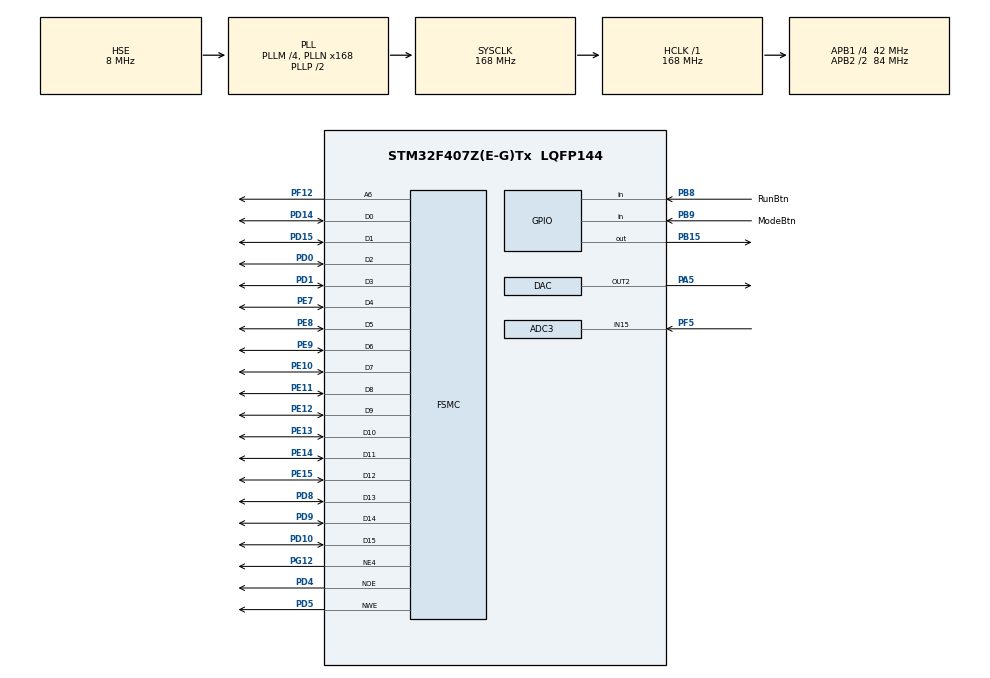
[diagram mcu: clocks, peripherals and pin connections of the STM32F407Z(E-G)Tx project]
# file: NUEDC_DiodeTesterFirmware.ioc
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ADC3.Channel-0\#ChannelRegularConversion=ADC_CHANNEL_15
ADC3.NbrOfConversionFlag=1
ADC3.Rank-0\#ChannelRegularConversion=1
ADC3.SamplingTime-0\#ChannelRegularConversion=ADC_SAMPLETIME_3CYCLES
DAC.DAC_Trigger2=DAC_TRIGGER_NONE
FSMC.AddressSetupTime1=2
FSMC.BusTurnAroundDuration1=2
FSMC.DataSetupTime1=16
IWDG.Prescaler=IWDG_PRESCALER_256
Mcu.Family=STM32F4
Mcu.Name=STM32F407Z(E-G)Tx
Mcu.Package=LQFP144
NVIC.ADC_IRQn=true\:0\:0\:false\:false\:true\:true\:true\:true
NVIC.PriorityGroup=NVIC_PRIORITYGROUP_4
NVIC.TIM6_DAC_IRQn=true\:0\:0\:false\:false\:true\:true\:true\:true
PA13.Mode=JTAG_5_pins
PA13.Signal=SYS_JTMS-SWDIO
PA14.Mode=JTAG_5_pins
PA14.Signal=SYS_JTCK-SWCLK
PA15.Mode=JTAG_5_pins
PA15.Signal=SYS_JTDI
PA5.Signal=COMP_DAC2_group
PB15.Signal=GPIO_Output
PB3.Mode=JTAG_5_pins
PB3.Signal=SYS_JTDO-SWO
PB4.Mode=JTAG_5_pins
PB4.Signal=SYS_JTRST
PB8.GPIO_Label=RunBtn
PB8.GPIO_PuPd=GPIO_PULLUP
PB8.Signal=GPIO_Input
PB9.GPIO_Label=ModeBtn
PB9.GPIO_PuPd=GPIO_PULLUP
PB9.Signal=GPIO_Input
PC14-OSC32_IN.Mode=LSE-External-Oscillator
PC14-OSC32_IN.Signal=RCC_OSC32_IN
PC15-OSC32_OUT.Mode=LSE-External-Oscillator
PC15-OSC32_OUT.Signal=RCC_OSC32_OUT
PD0.Signal=FSMC_D2_DA2
PD1.Signal=FSMC_D3_DA3
PD10.Signal=FSMC_D15_DA15
PD14.Signal=FSMC_D0_DA0
PD15.Signal=FSMC_D1_DA1
PD4.Signal=FSMC_NOE
PD5.Signal=FSMC_NWE
PD8.Signal=FSMC_D13_DA13
PD9.Signal=FSMC_D14_DA14
PE10.Signal=FSMC_D7_DA7
PE11.Signal=FSMC_D8_DA8
PE12.Signal=FSMC_D9_DA9
PE13.Signal=FSMC_D10_DA10
PE14.Signal=FSMC_D11_DA11
PE15.Signal=FSMC_D12_DA12
PE7.Signal=FSMC_D4_DA4
PE8.Signal=FSMC_D5_DA5
PE9.Signal=FSMC_D6_DA6
PF12.Signal=FSMC_A6
PF5.Mode=IN15
PF5.Signal=ADC3_IN15
PG12.Mode=NorPsramChipSelect4_1
PG12.Signal=FSMC_NE4
PH0-OSC_IN.Mode=HSE-External-Oscillator
PH0-OSC_IN.Signal=RCC_OSC_IN
PH1-OSC_OUT.Mode=HSE-External-Oscillator
PH1-OSC_OUT.Signal=RCC_OSC_OUT
ProjectManager.HeapSize=0x200
ProjectManager.StackSize=0x400
ProjectManager.TargetToolchain=Makefile
RCC.48MHZClocksFreq_Value=84000000
RCC.AHBFreq_Value=168000000
RCC.APB1CLKDivider=RCC_HCLK_DIV4
RCC.APB1Freq_Value=42000000
RCC.APB1TimFreq_Value=84000000
RCC.APB2CLKDivider=RCC_HCLK_DIV2
RCC.APB2Freq_Value=84000000
RCC.APB2TimFreq_Value=168000000
RCC.CortexFreq_Value=168000000
RCC.EnbaleCSS=true
RCC.HCLKFreq_Value=168000000
RCC.HSE_VALUE=8000000
RCC.HSI_VALUE=16000000
RCC.PLLM=4
RCC.PLLN=168
RCC.PLLSourceVirtual=RCC_PLLSOURCE_HSE
RCC.SYSCLKFreq_VALUE=168000000
RCC.SYSCLKSource=RCC_SYSCLKSOURCE_PLLCLK
RCC.VCOOutputFreq_Value=336000000
SH.COMP_DAC2_group.0=DAC_OUT2,DAC_OUT2
SH.FSMC_A6.0=FSMC_A6,A6_1
SH.FSMC_D0_DA0.0=FSMC_D0,16b-d1
SH.FSMC_D10_DA10.0=FSMC_D10,16b-d1
SH.FSMC_D11_DA11.0=FSMC_D11,16b-d1
SH.FSMC_D12_DA12.0=FSMC_D12,16b-d1
SH.FSMC_D13_DA13.0=FSMC_D13,16b-d1
SH.FSMC_D14_DA14.0=FSMC_D14,16b-d1
SH.FSMC_D15_DA15.0=FSMC_D15,16b-d1
SH.FSMC_D1_DA1.0=FSMC_D1,16b-d1
SH.FSMC_D2_DA2.0=FSMC_D2,16b-d1
SH.FSMC_D3_DA3.0=FSMC_D3,16b-d1
SH.FSMC_D4_DA4.0=FSMC_D4,16b-d1
SH.FSMC_D5_DA5.0=FSMC_D5,16b-d1
SH.FSMC_D6_DA6.0=FSMC_D6,16b-d1
SH.FSMC_D7_DA7.0=FSMC_D7,16b-d1
SH.FSMC_D8_DA8.0=FSMC_D8,16b-d1
SH.FSMC_D9_DA9.0=FSMC_D9,16b-d1
SH.FSMC_NOE.0=FSMC_NOE,Lcd1
SH.FSMC_NWE.0=FSMC_NWE,Lcd1
TIM6.AutoReloadPreload=TIM_AUTORELOAD_PRELOAD_ENABLE
TIM6.Period=42-1
TIM6.Prescaler=1000-1
TIM6.TIM_MasterOutputTrigger=TIM_TRGO_UPDATE
VP_IWDG_VS_IWDG.Mode=IWDG_Activate
VP_TIM6_VS_ClockSourceINT.Mode=Enable_Timer
board=custom

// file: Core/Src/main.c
/* USER CODE BEGIN Header */
/**
  ******************************************************************************
  * @file           : main.c
  * @brief          : Main program body
  ******************************************************************************
  * @attention
  *
  * Copyright (c) 2023 STMicroelectronics.
  * All rights reserved.
  *
  * This software is licensed under terms that can be found in the LICENSE file
  * in the root directory of this software component.
  * If no LICENSE file comes with this software, it is provided AS-IS.
  *
  ******************************************************************************
  */
/* USER CODE END Header */
#include "main.h"
#include "adc.h"
#include "dac.h"
#include "iwdg.h"
#include "tim.h"
#include "gpio.h"
#include "fsmc.h"

/* USER CODE BEGIN Includes */
#include <UserCommon.h>
/* USER CODE END Includes */

void SystemClock_Config(void);

/* USER CODE BEGIN 0 */
// void HAL_ADC_ConvCpltCallback(ADC_HandleTypeDef *hadc) {
//   if(hadc->Instance == hadc3.Instance)
//     flags.adcConvCpltFlag = 1;
// }
/* USER CODE END 0 */

int main(void)
{

  /* MCU Configuration--------------------------------------------------------*/

  /* Reset of all peripherals, Initializes the Flash interface and the Systick. */
  HAL_Init();

  /* Configure the system clock */
  SystemClock_Config();

  /* Initialize all configured peripherals */
  MX_GPIO_Init();
  MX_IWDG_Init();
  MX_DAC_Init();
  MX_FSMC_Init();
  MX_TIM6_Init();
  MX_ADC3_Init();
  /* USER CODE BEGIN 2 */
  GUIInitialize();
  OscillscopeInitialize();
  /* USER CODE END 2 */

  /* Infinite loop */
  /* USER CODE BEGIN WHILE */
  while (1)
  {
    HAL_IWDG_Refresh(&hiwdg);
    if(flags.deviceModeFlag == 0 && flags.deviceModeChangeFlag) {
      DiodeTesterDeinitialize();
      GUIClearCurve(1);
      OscillscopeInitialize();
      GUIUpdateStatus();
      flags.deviceModeChangeFlag = 0;
    } else if (flags.deviceModeFlag == 1 && flags.deviceModeChangeFlag) {
      OscillscopeDeinitialize();
      GUIClearCurve(0);
      DiodeTesterInitialize();
      GUIUpdateStatus();
      flags.deviceModeChangeFlag = 0;
    } else if (flags.deviceModeFlag == 0) {
      OscillscopeServiceFunction();
    } else {
      DiodeTesterServiceFunction();
    }
    /* USER CODE END WHILE */

  }
}

void SystemClock_Config(void)
{
  RCC_OscInitTypeDef RCC_OscInitStruct = {0};
  RCC_ClkInitTypeDef RCC_ClkInitStruct = {0};

  /** Configure the main internal regulator output voltage
  */
  __HAL_RCC_PWR_CLK_ENABLE();
  __HAL_PWR_VOLTAGESCALING_CONFIG(PWR_REGULATOR_VOLTAGE_SCALE1);

  /** Initializes the RCC Oscillators according to the specified parameters
  * in the RCC_OscInitTypeDef structure.
  */
  RCC_OscInitStruct.OscillatorType = RCC_OSCILLATORTYPE_LSI|RCC_OSCILLATORTYPE_HSE;
  RCC_OscInitStruct.HSEState = RCC_HSE_ON;
  RCC_OscInitStruct.LSIState = RCC_LSI_ON;
  RCC_OscInitStruct.PLL.PLLState = RCC_PLL_ON;
  RCC_OscInitStruct.PLL.PLLSource = RCC_PLLSOURCE_HSE;
  RCC_OscInitStruct.PLL.PLLM = 4;
  RCC_OscInitStruct.PLL.PLLN = 168;
  RCC_OscInitStruct.PLL.PLLP = RCC_PLLP_DIV2;
  RCC_OscInitStruct.PLL.PLLQ = 4;
  if (HAL_RCC_OscConfig(&RCC_OscInitStruct) != HAL_OK)
  {
    Error_Handler();
  }

  /** Initializes the CPU, AHB and APB buses clocks
  */
  RCC_ClkInitStruct.ClockType = RCC_CLOCKTYPE_HCLK|RCC_CLOCKTYPE_SYSCLK
                              |RCC_CLOCKTYPE_PCLK1|RCC_CLOCKTYPE_PCLK2;
  RCC_ClkInitStruct.SYSCLKSource = RCC_SYSCLKSOURCE_PLLCLK;
  RCC_ClkInitStruct.AHBCLKDivider = RCC_SYSCLK_DIV1;
  RCC_ClkInitStruct.APB1CLKDivider = RCC_HCLK_DIV4;
  RCC_ClkInitStruct.APB2CLKDivider = RCC_HCLK_DIV2;

  if (HAL_RCC_ClockConfig(&RCC_ClkInitStruct, FLASH_LATENCY_5) != HAL_OK)
  {
    Error_Handler();
  }

  /** Enables the Clock Security System
  */
  HAL_RCC_EnableCSS();
}

void Error_Handler(void)
{
  __disable_irq();
  while (1)
  {
  }
}
